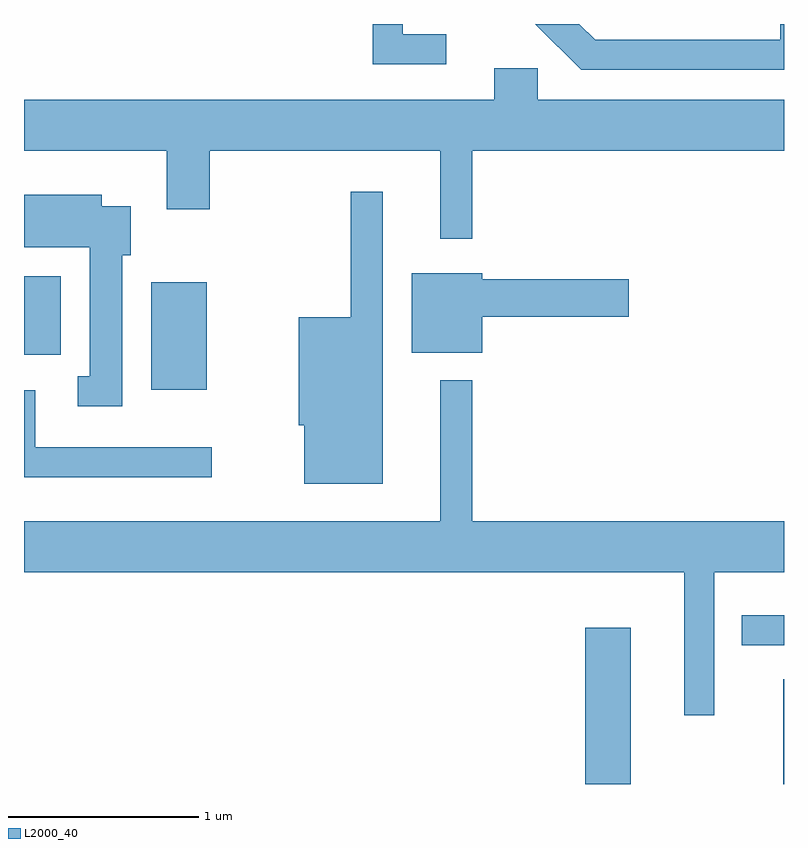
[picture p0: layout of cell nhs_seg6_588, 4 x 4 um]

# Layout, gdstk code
import gdstk
lib = gdstk.Library(unit=1e-6, precision=1e-09)
def R(c, l, rs):  # rectangles x0, y0, x1, y1
    for r in rs: c.add(gdstk.rectangle(r[:2], r[2:], *l))
def P(c, l, *ps):  # polygons
    for p in ps: c.add(gdstk.Polygon(p, *l))
L2000_40 = (2000, 40)

nhs_seg6_588 = lib.new_cell('nhs_seg6_588')
R(nhs_seg6_588, L2000_40, [(204.566,1642.162,204.804,1642.984), (205.606,1642.162,205.611,1642.713), (205.388,1642.891,205.611,1643.049), (202.281,1644.236,202.574,1644.804), (201.611,1644.421,201.804,1644.834)])
P(nhs_seg6_588, L2000_40, [(203.833,1646.109),(203.604,1646.109),(203.604,1646.162),(203.446,1646.162),(203.446,1645.951),(203.833,1645.951)],
  [(205.611,1646.162),(205.591,1646.162),(205.591,1646.079),(204.617,1646.079),(204.534,1646.162),(204.303,1646.162),(204.544,1645.921),(205.611,1645.921)],
  [(203.969,1645.496),(205.611,1645.496),(205.611,1645.764),(204.314,1645.764),(204.314,1645.929),(204.086,1645.929),(204.086,1645.764),(201.611,1645.764),(201.611,1645.496),(202.361,1645.496),(202.361,1645.186),(202.589,1645.186),(202.589,1645.496),(203.801,1645.496),(203.801,1645.033),(203.969,1645.033)],
  [(203.499,1645.278),(203.331,1645.278),(203.331,1644.619),(203.056,1644.619),(203.056,1644.051),(203.086,1644.051),(203.086,1643.741),(203.499,1643.741)],
  [(202.129,1644.946),(202.174,1644.946),(202.174,1645.204),(202.019,1645.204),(202.019,1645.264),(201.611,1645.264),(201.611,1644.986),(201.956,1644.986),(201.956,1644.309),(201.893,1644.309),(201.893,1644.151),(202.129,1644.151)],
  [(204.024,1644.621),(204.794,1644.621),(204.794,1644.819),(204.024,1644.819),(204.024,1644.849),(203.651,1644.849),(203.651,1644.431),(204.024,1644.431)],
  [(205.244,1643.276),(205.611,1643.276),(205.611,1643.544),(203.969,1643.544),(203.969,1644.288),(203.801,1644.288),(203.801,1643.544),(201.611,1643.544),(201.611,1643.276),(205.086,1643.276),(205.086,1642.523),(205.244,1642.523)],
  [(202.598,1643.934),(201.669,1643.934),(201.669,1644.234),(201.611,1644.234),(201.611,1643.776),(202.598,1643.776)])

lib.write_gds('nhs_seg6_588.gds')
